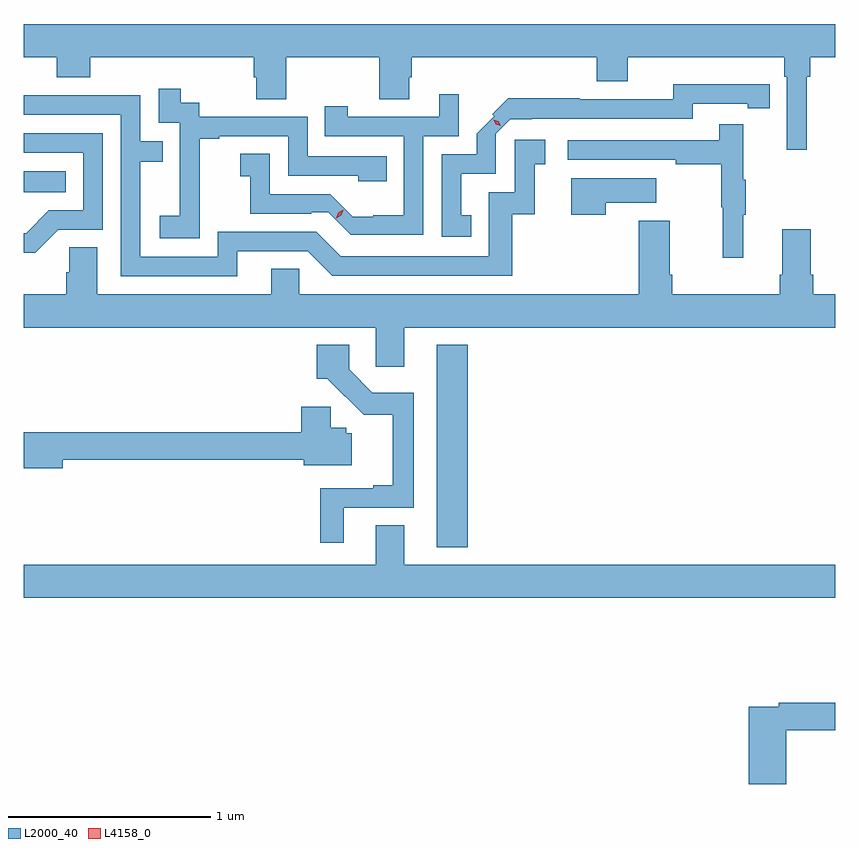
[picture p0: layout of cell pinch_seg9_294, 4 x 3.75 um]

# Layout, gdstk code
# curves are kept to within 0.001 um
import gdstk
lib = gdstk.Library(unit=1e-6, precision=1e-09)
def R(c, l, rs):  # rectangles x0, y0, x1, y1
    for r in rs: c.add(gdstk.rectangle(r[:2], r[2:], *l))
def P(c, l, *ps):  # polygons
    for p in ps: c.add(gdstk.Polygon(p, *l))
L2000_40 = (2000, 40)
L4158_0 = (4158, 0)

pinch_seg9_294 = lib.new_cell('pinch_seg9_294')
R(pinch_seg9_294, L2000_40, [(509.003,1180.685,509.156,1181.683), (506.968,1182.434,507.176,1182.538)])
P(pinch_seg9_294, L2000_40, [(506.968,1183.1),(507.131,1183.1),(507.131,1183.001),(507.296,1183.001),(507.296,1183.1),(508.103,1183.1),(508.103,1183.002),(508.115,1183.002),(508.115,1182.892),(508.263,1182.892),(508.263,1183.1),(508.72,1183.1),(508.72,1182.892),(508.867,1182.892),(508.867,1183.002),(508.88,1183.002),(508.88,1183.1),(509.792,1183.1),(509.792,1182.983),(509.944,1182.983),(509.944,1183.1),(510.716,1183.1),(510.716,1183.004),(510.729,1183.004),(510.729,1182.645),(510.826,1182.645),(510.826,1183.004),(510.845,1183.004),(510.845,1183.1),(510.968,1183.1),(510.968,1183.264),(506.968,1183.264)],
  [(509.174,1182.321),(509.125,1182.321),(509.125,1182.525),(509.295,1182.525),(509.295,1182.723),(509.367,1182.795),(509.473,1182.795),(509.473,1182.798),(510.264,1182.798),(510.264,1182.87),(510.536,1182.87),(510.536,1182.85),(510.644,1182.85),(510.644,1182.966),(510.168,1182.967),(510.168,1182.894),(509.708,1182.894),(509.708,1182.898),(509.355,1182.898),(509.277,1182.819),(509.287,1182.809),(509.202,1182.724),(509.202,1182.621),(509.028,1182.621),(509.028,1182.216),(509.174,1182.216)],
  [(507.837,1182.415),(507.836,1182.415),(507.836,1182.699),(507.931,1182.699),(507.931,1182.711),(508.272,1182.711),(508.272,1182.516),(508.617,1182.516),(508.617,1182.488),(508.757,1182.488),(508.757,1182.612),(508.368,1182.612),(508.368,1182.807),(507.834,1182.807),(507.834,1182.876),(507.742,1182.876),(507.742,1182.946),(507.633,1182.946),(507.633,1182.777),(507.738,1182.777),(507.738,1182.548),(507.737,1182.548),(507.737,1182.319),(507.639,1182.319),(507.639,1182.209),(507.837,1182.209)],
  [(508.938,1182.711),(509.112,1182.711),(509.112,1182.919),(509.015,1182.919),(509.015,1182.807),(508.564,1182.807),(508.564,1182.859),(508.453,1182.859),(508.453,1182.711),(508.842,1182.711),(508.842,1182.322),(508.69,1182.322),(508.69,1182.315),(508.589,1182.315),(508.478,1182.426),(508.182,1182.426),(508.182,1182.625),(508.035,1182.625),(508.035,1182.515),(508.084,1182.515),(508.084,1182.33),(508.385,1182.33),(508.385,1182.336),(508.47,1182.336),(508.581,1182.225),(508.938,1182.225)],
  [(508.021,1182.144),(508.368,1182.144),(508.488,1182.024),(509.375,1182.024),(509.375,1182.327),(509.486,1182.327),(509.486,1182.573),(509.539,1182.573),(509.539,1182.694),(509.388,1182.694),(509.388,1182.435),(509.259,1182.435),(509.259,1182.12),(508.53,1182.12),(508.41,1182.24),(507.924,1182.24),(507.924,1182.117),(507.543,1182.117),(507.543,1182.586),(507.653,1182.586),(507.653,1182.687),(507.543,1182.687),(507.543,1182.912),(507.047,1182.912),(507.047,1182.914),(506.968,1182.914),(506.968,1182.816),(507.447,1182.816),(507.447,1182.021),(508.021,1182.021)],
  [(510.515,1182.323),(510.526,1182.323),(510.526,1182.497),(510.515,1182.497),(510.515,1182.769),(510.397,1182.769),(510.397,1182.69),(509.649,1182.69),(509.649,1182.594),(510.181,1182.594),(510.181,1182.574),(510.405,1182.574),(510.405,1182.36),(510.412,1182.36),(510.412,1182.111),(510.515,1182.111)],
  [(507.138,1182.249),(507.357,1182.249),(507.357,1182.726),(506.968,1182.726),(506.968,1182.63),(507.261,1182.63),(507.261,1182.345),(507.092,1182.345),(506.981,1182.234),(506.968,1182.234),(506.968,1182.137),(507.025,1182.137)],
  [(509.837,1182.383),(510.085,1182.383),(510.085,1182.505),(509.666,1182.505),(509.666,1182.324),(509.837,1182.324)],
  [(510.968,1181.932),(510.86,1181.932),(510.86,1182.028),(510.847,1182.028),(510.847,1182.253),(510.707,1182.253),(510.707,1182.028),(510.695,1182.028),(510.695,1181.932),(510.164,1181.932),(510.164,1182.028),(510.151,1182.028),(510.151,1182.295),(509.999,1182.295),(509.999,1181.932),(508.326,1181.932),(508.326,1182.059),(508.187,1182.059),(508.187,1181.932),(507.331,1181.932),(507.331,1182.164),(507.192,1182.164),(507.192,1182.041),(507.179,1182.041),(507.179,1181.932),(506.968,1181.932),(506.968,1181.768),(508.704,1181.768),(508.704,1181.574),(508.843,1181.574),(508.843,1181.768),(510.968,1181.768)],
  [(508.546,1180.881),(508.891,1180.881),(508.891,1181.448),(508.686,1181.448),(508.572,1181.562),(508.572,1181.683),(508.412,1181.683),(508.412,1181.516),(508.465,1181.516),(508.643,1181.339),(508.787,1181.339),(508.787,1180.99),(508.691,1180.99),(508.691,1180.977),(508.429,1180.977),(508.429,1180.707),(508.546,1180.707)],
  [(507.16,1181.116),(508.349,1181.116),(508.349,1181.09),(508.585,1181.09),(508.585,1181.247),(508.557,1181.247),(508.557,1181.274),(508.481,1181.274),(508.481,1181.379),(508.337,1181.379),(508.337,1181.252),(506.968,1181.252),(506.968,1181.074),(507.16,1181.074)],
  [(510.968,1180.6),(508.843,1180.6),(508.843,1180.795),(508.703,1180.795),(508.703,1180.6),(506.968,1180.6),(506.968,1180.436),(510.968,1180.436)],
  [(510.725,1179.784),(510.968,1179.784),(510.968,1179.92),(510.688,1179.92),(510.688,1179.9),(510.542,1179.9),(510.542,1179.519),(510.725,1179.519)])
P(pinch_seg9_294, L4158_0, [(509.319,1182.762),(509.295,1182.77),(509.284,1182.792),(509.284,1182.792),(509.284,1182.792),(509.308,1182.784),(509.319,1182.762),(509.319,1182.762)],
  [(508.508,1182.308),(508.508,1182.308),(508.518,1182.334),(508.542,1182.348),(508.543,1182.348),(508.543,1182.348),(508.533,1182.321),(508.508,1182.308)])

lib.write_gds('pinch_seg9_294.gds')
